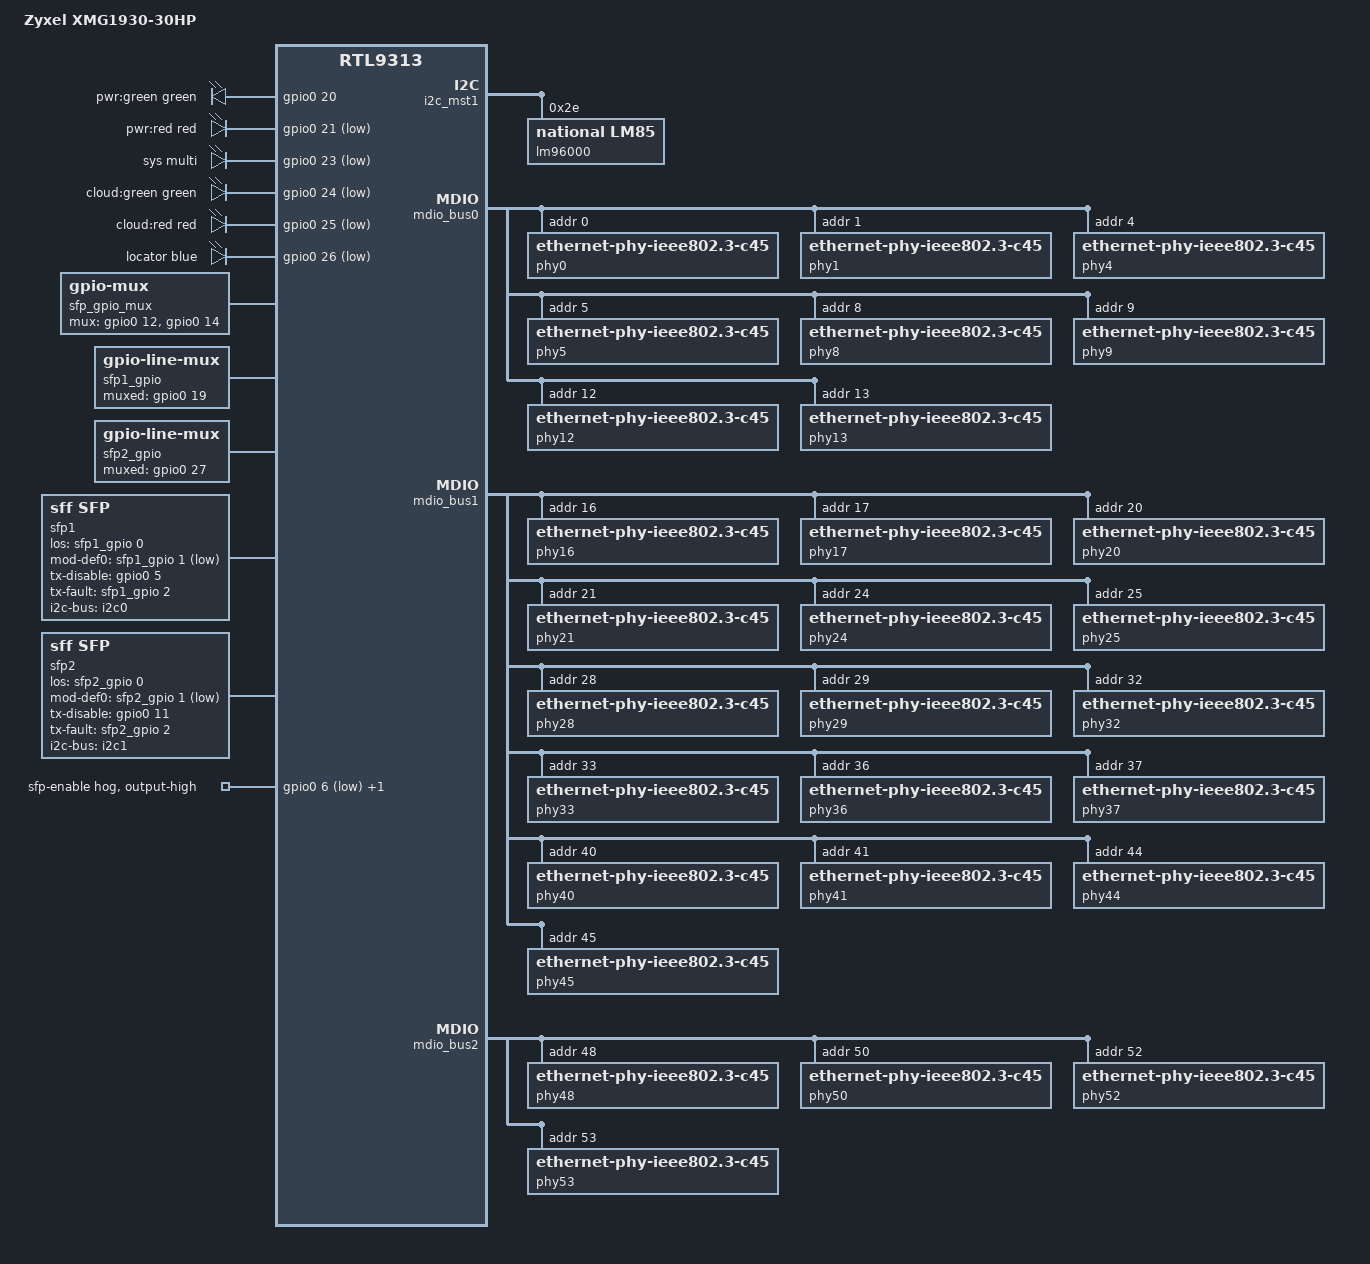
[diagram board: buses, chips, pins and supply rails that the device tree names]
// SPDX-License-Identifier: GPL-2.0-or-later
/dts-v1/;

#include "rtl9313_zyxel_xmg1930.dtsi"

#include <dt-bindings/input/input.h>
#include <dt-bindings/gpio/gpio.h>
#include <dt-bindings/leds/common.h>
#include <dt-bindings/mux/mux.h>

/ {
	compatible = "zyxel,xmg1930-30hp", "realtek,rtl9313-soc";
	model = "Zyxel XMG1930-30HP";

	/*
	aliases {
		led-boot = &led_sys;
		led-failsafe = &led_sys;
		led-running = &led_sys;
		led-upgrade = &led_sys;
	};
	*/

	leds {
		compatible = "gpio-leds";

		led_pwr_green: led-0 {
			reg = <0>;
			color = <LED_COLOR_ID_GREEN>;
			default-state = "on";
			gpios = <&gpio0 20 GPIO_ACTIVE_HIGH>;
			label = "pwr:green";
		};
		led_pwr_red: led-1 {
			reg = <1>;
			color = <LED_COLOR_ID_RED>;
			gpios = <&gpio0 21 GPIO_ACTIVE_LOW>;
			label = "pwr:red";
		};
		led_sys: led-2 {
			reg = <2>;
			color = <LED_COLOR_ID_MULTI>;
			default-state = "on";
			function = LED_FUNCTION_ACTIVITY;
			gpios = <&gpio0 23 GPIO_ACTIVE_LOW>;
			label = "sys";
		};
		led_cloud_green: led-3 {
			reg = <3>;
			color = <LED_COLOR_ID_GREEN>;
			gpios = <&gpio0 24 GPIO_ACTIVE_LOW>;
			label = "cloud:green";
		};
		led_cloud_red: led-4 {
			reg = <4>;
			color = <LED_COLOR_ID_RED>;
			gpios = <&gpio0 25 GPIO_ACTIVE_LOW>;
			label = "cloud:red";
		};
		led_locator: led-5 {
			reg = <5>;
			color = <LED_COLOR_ID_BLUE>;
			function = LED_FUNCTION_INDICATOR;
			gpios = <&gpio0 26 GPIO_ACTIVE_LOW>;
			label = "locator";
		};
	};

	led_set: led_set@0 {
		compatible = "realtek,rtl9300-leds";
		active-low;

		/* Blue | Green | Red */
		led_set0 = <(RTL93XX_LED_SET_10G | RTL93XX_LED_SET_5G | RTL93XX_LED_SET_2P5G | RTL93XX_LED_SET_LINK | RTL93XX_LED_SET_ACT)
			    (RTL93XX_LED_SET_2P5G | RTL93XX_LED_SET_1G | RTL93XX_LED_SET_100M | RTL93XX_LED_SET_LINK | RTL93XX_LED_SET_ACT)
			    (RTL93XX_LED_SET_5G | RTL93XX_LED_SET_100M | RTL93XX_LED_SET_LINK | RTL93XX_LED_SET_ACT)>;
		led_set1 = <(RTL93XX_LED_SET_10G | RTL93XX_LED_SET_LINK | RTL93XX_LED_SET_ACT)
			    (RTL93XX_LED_SET_1G | RTL93XX_LED_SET_LINK | RTL93XX_LED_SET_ACT)
			    RTL93XX_LED_SET_NONE>;
	};

	sfp_gpio_mux: gpio-mux {
		compatible = "gpio-mux";
		mux-gpios = <&gpio0 12 GPIO_ACTIVE_HIGH>,
			    <&gpio0 14 GPIO_ACTIVE_HIGH>;
		#mux-control-cells = <0>;
		idle-state = <MUX_IDLE_AS_IS>;
	};

	sfp1_gpio: sfp-gpio-1 {
		compatible = "gpio-line-mux";
		gpio-controller;
		#gpio-cells = <2>;

		mux-controls = <&sfp_gpio_mux>;
		muxed-gpio = <&gpio0 19 GPIO_ACTIVE_HIGH>;

		gpio-line-names = "SFP1_LOS", "SFP1_MOD_ABS", "SFP1_TX_FAULT";
		gpio-line-mux-states = <0>, <1>, <3>;
	};

	sfp2_gpio: sfp-gpio-2 {
		compatible = "gpio-line-mux";
		gpio-controller;
		#gpio-cells = <2>;

		mux-controls = <&sfp_gpio_mux>;
		muxed-gpio = <&gpio0 27 GPIO_ACTIVE_HIGH>;

		gpio-line-names = "SFP2_LOS", "SFP2_MOD_ABS", "SFP2_TX_FAULT";
		gpio-line-mux-states = <0>, <1>, <3>;
	};

	sfp1: sfp-p1 {
		compatible = "sff,sfp";
		i2c-bus = <&i2c0>;
		los-gpio = <&sfp1_gpio 0 GPIO_ACTIVE_HIGH>;
		mod-def0-gpio = <&sfp1_gpio 1 GPIO_ACTIVE_LOW>;
		tx-disable-gpio = <&gpio0 5 GPIO_ACTIVE_HIGH>;
		tx-fault-gpio = <&sfp1_gpio 2 GPIO_ACTIVE_HIGH>;
	};

	sfp2: sfp-p2 {
		compatible = "sff,sfp";
		i2c-bus = <&i2c1>;
		los-gpio = <&sfp2_gpio 0 GPIO_ACTIVE_HIGH>;
		mod-def0-gpio = <&sfp2_gpio 1 GPIO_ACTIVE_LOW>;
		tx-disable-gpio = <&gpio0 11 GPIO_ACTIVE_HIGH>;
		tx-fault-gpio = <&sfp2_gpio 2 GPIO_ACTIVE_HIGH>;
	};
};

&gpio0 {
	pinctrl-names = "default";
	pinctrl-0 = <&pinmux_disable_jtag>;

	sfp_enable_hog {
		gpio-hog;
		gpios = <6 GPIO_ACTIVE_LOW>,
			<7 GPIO_ACTIVE_LOW>;
		output-high;
		line-name = "sfp-enable";
	};
};

&i2c_mst1 {
	status = "okay";

	i2c0: i2c@0 {
		reg = <0>;
	};
	i2c1: i2c@1 {
		reg = <1>;
	};

	i2c2: i2c@2 {
		reg = <2>;

		lm96000: lm96000@2e {
			compatible = "national,lm85";
			reg = <0x2e>;
		};
	};
};

&mdio_ctrl {
	pinctrl-names = "default";
	pinctrl-0 = <&pinmux_enable_mdc_mdio_0>,
		    <&pinmux_enable_mdc_mdio_1>,
		    <&pinmux_enable_mdc_mdio_2>;
};

&mdio_bus0 {

	/* 2.5G copper PHYs */
	phy0: ethernet-phy@0 {
		reg = <0>;
		compatible = "ethernet-phy-ieee802.3-c45";
		realtek,smi-address = <8>;
	};
	phy1: ethernet-phy@1 {
		reg = <1>;
		compatible = "ethernet-phy-ieee802.3-c45";
		realtek,smi-address = <9>;
	};
	phy4: ethernet-phy@4 {
		reg = <4>;
		compatible = "ethernet-phy-ieee802.3-c45";
		realtek,smi-address = <10>;
	};
	phy5: ethernet-phy@5 {
		reg = <5>;
		compatible = "ethernet-phy-ieee802.3-c45";
		realtek,smi-address = <11>;
	};
	phy8: ethernet-phy@8 {
		reg = <8>;
		compatible = "ethernet-phy-ieee802.3-c45";
		realtek,smi-address = <12>;
	};
	phy9: ethernet-phy@9 {
		reg = <9>;
		compatible = "ethernet-phy-ieee802.3-c45";
		realtek,smi-address = <13>;
	};
	phy12: ethernet-phy@12 {
		reg = <12>;
		compatible = "ethernet-phy-ieee802.3-c45";
		realtek,smi-address = <14>;
	};
	phy13: ethernet-phy@13 {
		reg = <13>;
		compatible = "ethernet-phy-ieee802.3-c45";
		realtek,smi-address = <15>;
	};
};

&mdio_bus1 {
	phy16: ethernet-phy@16 {
		reg = <16>;
		compatible = "ethernet-phy-ieee802.3-c45";
		realtek,smi-address = <8>;
	};
	phy17: ethernet-phy@17 {
		reg = <17>;
		compatible = "ethernet-phy-ieee802.3-c45";
		realtek,smi-address = <9>;
	};
	phy20: ethernet-phy@20 {
		reg = <20>;
		compatible = "ethernet-phy-ieee802.3-c45";
		realtek,smi-address = <10>;
	};
	phy21: ethernet-phy@21 {
		reg = <21>;
		compatible = "ethernet-phy-ieee802.3-c45";
		realtek,smi-address = <11>;
	};
	phy24: ethernet-phy@24 {
		reg = <24>;
		compatible = "ethernet-phy-ieee802.3-c45";
		realtek,smi-address = <12>;
	};
	phy25: ethernet-phy@25 {
		reg = <25>;
		compatible = "ethernet-phy-ieee802.3-c45";
		realtek,smi-address = <13>;
	};
	phy28: ethernet-phy@28 {
		reg = <28>;
		compatible = "ethernet-phy-ieee802.3-c45";
		realtek,smi-address = <14>;
	};
	phy29: ethernet-phy@29 {
		reg = <29>;
		compatible = "ethernet-phy-ieee802.3-c45";
		realtek,smi-address = <15>;
	};
	phy32: ethernet-phy@32 {
		reg = <32>;
		compatible = "ethernet-phy-ieee802.3-c45";
		realtek,smi-address = <0>;
	};
	phy33: ethernet-phy@33 {
		reg = <33>;
		compatible = "ethernet-phy-ieee802.3-c45";
		realtek,smi-address = <1>;
	};
	phy36: ethernet-phy@36 {
		reg = <36>;
		compatible = "ethernet-phy-ieee802.3-c45";
		realtek,smi-address = <2>;
	};
	phy37: ethernet-phy@37 {
		reg = <37>;
		compatible = "ethernet-phy-ieee802.3-c45";
		realtek,smi-address = <3>;
	};
	phy40: ethernet-phy@40 {
		reg = <40>;
		compatible = "ethernet-phy-ieee802.3-c45";
		realtek,smi-address = <4>;
	};
	phy41: ethernet-phy@41 {
		reg = <41>;
		compatible = "ethernet-phy-ieee802.3-c45";
		realtek,smi-address = <5>;
	};
	phy44: ethernet-phy@44 {
		reg = <44>;
		compatible = "ethernet-phy-ieee802.3-c45";
		realtek,smi-address = <6>;
	};
	phy45: ethernet-phy@45 {
		reg = <45>;
		compatible = "ethernet-phy-ieee802.3-c45";
		realtek,smi-address = <7>;
	};
};

&mdio_bus2 {
	/* 10G copper PHYs */
	phy48: ethernet-phy@48 {
		reg = <48>;
		compatible = "ethernet-phy-ieee802.3-c45";
		realtek,smi-address = <0>;
	};
	phy50: ethernet-phy@50 {
		reg = <50>;
		compatible = "ethernet-phy-ieee802.3-c45";
		realtek,smi-address = <1>;
	};
	phy52: ethernet-phy@52 {
		reg = <52>;
		compatible = "ethernet-phy-ieee802.3-c45";
		realtek,smi-address = <2>;
	};
	phy53: ethernet-phy@53 {
		reg = <53>;
		compatible = "ethernet-phy-ieee802.3-c45";
		realtek,smi-address = <3>;
	};
};

&ethernet0 {
	nvmem-cells = <&factory_macaddr>;
	nvmem-cell-names = "mac-address";
};

&switch0 {
	ports {
		#address-cells = <1>;
		#size-cells = <0>;

		/* 2.5G copper ports */
		/* TODO: is this really 10g-qxgmii ?? */
		SWITCH_PORT_SDS(0, 1, 2, 10g-qxgmii)
		SWITCH_PORT_SDS(1, 2, 2, 10g-qxgmii)
		SWITCH_PORT_SDS(4, 3, 2, 10g-qxgmii)
		SWITCH_PORT_SDS(5, 4, 2, 10g-qxgmii)

		SWITCH_PORT_SDS(8, 5, 3, 10g-qxgmii)
		SWITCH_PORT_SDS(9, 6, 3, 10g-qxgmii)
		SWITCH_PORT_SDS(12, 7, 3, 10g-qxgmii)
		SWITCH_PORT_SDS(13, 8, 3, 10g-qxgmii)

		SWITCH_PORT_SDS(16, 9, 4, 10g-qxgmii)
		SWITCH_PORT_SDS(17, 10, 4, 10g-qxgmii)
		SWITCH_PORT_SDS(20, 11, 4, 10g-qxgmii)
		SWITCH_PORT_SDS(21, 12, 4, 10g-qxgmii)

		SWITCH_PORT_SDS(24, 13, 5, 10g-qxgmii)
		SWITCH_PORT_SDS(25, 14, 5, 10g-qxgmii)
		SWITCH_PORT_SDS(28, 15, 5, 10g-qxgmii)
		SWITCH_PORT_SDS(29, 16, 5, 10g-qxgmii)

		SWITCH_PORT_SDS(32, 17, 6, 10g-qxgmii)
		SWITCH_PORT_SDS(33, 18, 6, 10g-qxgmii)
		SWITCH_PORT_SDS(36, 19, 6, 10g-qxgmii)
		SWITCH_PORT_SDS(37, 20, 6, 10g-qxgmii)

		SWITCH_PORT_SDS(40, 21, 7, 10g-qxgmii)
		SWITCH_PORT_SDS(41, 22, 7, 10g-qxgmii)
		SWITCH_PORT_SDS(44, 23, 7, 10g-qxgmii)
		SWITCH_PORT_SDS(45, 24, 7, 10g-qxgmii)

		/* 10G copper ports */
		SWITCH_PORT_SDS(48, 25, 8, usxgmii)
		SWITCH_PORT_SDS(50, 26, 9, usxgmii)
		SWITCH_PORT_SDS(52, 27, 10, usxgmii)
		SWITCH_PORT_SDS(53, 28, 11, usxgmii)

		/* SFP ports */
		port@54 {
			reg = <54>;
			label = SWITCH_PORT_LABEL(29);
			pcs-handle = <&serdes12>;
			phy-mode = "1000base-x";
		//	sfp = <&sfp29>;
			managed = "in-band-status";
		};
		port@55 {
			reg = <55>;
			label = SWITCH_PORT_LABEL(30);
			pcs-handle = <&serdes13>;
			phy-mode = "1000base-x";
		//	sfp = <&sfp30>;
			managed = "in-band-status";
		};
		port@56 {
			ethernet = <&ethernet0>;
			reg = <56>;
			phy-mode = "internal";
			fixed-link {
				speed = <1000>;
				full-duplex;
			};
		};
	};
};

&serdes12 {
	realtek,pnswap-tx;
};

&serdes13 {
	realtek,pnswap-tx;
};
